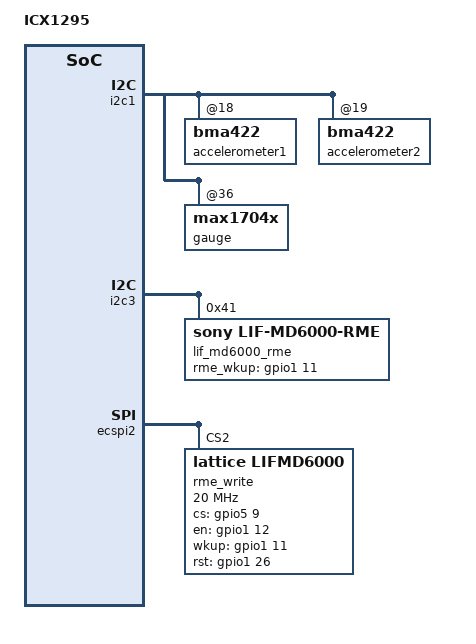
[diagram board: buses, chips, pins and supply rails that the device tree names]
// SPDX-License-Identifier: GPL-2.0
/*
 * Copyright 2018 Sony Video & Sound Products Inc.
 */

#include "sony-imx8mm-dmp1.dts"

/ {
	model = "ICX1295";

	thermal-zones {
		cpu-thermal {
			trips {
				cpu_alert0: trip0 {
					temperature = <65000>;
				};
			};
		};
	};
};

&i2c1 {
	accelerometer1: bma422@18 {
		bma4xy,axis_map = "-x", "+y", "-z";
	};
	accelerometer2: bma422@19 {
		bma4xy,axis_map = "-x", "+y", "-z";
	};
	gauge: max1704x@36 {
		full_battery_capacity = <1500000>; /* uAh */
		/* Battery model */
		empty_adjustment = <0>;
		full_adjustment = <100>;
		rcomp0 = <64>;
		temp_co_up = <(-15625)>; /* x100000 */
		temp_co_down = <(-525000)>; /* x100000 */
		ocv_test = <55632>;
		soc_check_a = <104>;
		soc_check_b = <106>;
		bits = <18>;
		rcomp_seg = <0x0100>;
		model_data = [
			A4 10 B5 20 B8 90 BB 20 BB E0 BC 90 BD 10 BD A0
			BE 50 BF 20 C0 F0 C3 10 C5 60 C7 90 CD 70 CF 50
			00 20 0C 50 10 90 1C 60 1F 80 25 60 2A 50 1F 30
			1A 00 10 40 0E 50 0C 40 10 C0 0A 30 02 00 02 00
		];
	};
};

&i2c3 {
	cxd3778gf: cxd3778gf {
		pwm_phdly_btl = <0x03>;
		pwm_phdly_se = <0x08>;
	};
	lif_md6000_rme: lif_md6000_rme {
		compatible = "sony,lif-md6000-rme";
		reg = <0x41>;
		status = "okay";
		rme_wkup-gpio = <&gpio1 11 GPIO_ACTIVE_HIGH>;
	};
};

&ecspi2 {
	rme_write: rme_write@2 {
		compatible = "lattice,lifmd6000";
		spi-max-frequency = <20000000>;
		reg = <2>;
		cs-gpio = <&gpio5 9 GPIO_ACTIVE_HIGH>;
		en-gpio = <&gpio1 12 GPIO_ACTIVE_HIGH>;
		wkup-gpio = <&gpio1 11 GPIO_ACTIVE_HIGH>;
		rst-gpio = <&gpio1 26 GPIO_ACTIVE_HIGH>;
	};
};

&micfil {
        initial_gain = <0xB>; /* 0x00 ~ 0x0F */
};
